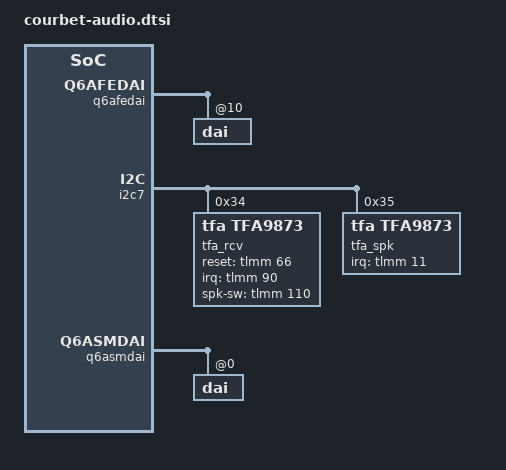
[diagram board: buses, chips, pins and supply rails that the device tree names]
// SPDX-License-Identifier: GPL-2.0-only
#include <dt-bindings/sound/qcom,q6afe.h>
#include <dt-bindings/sound/qcom,q6asm.h>

/ {
	sound {
		compatible = "xiaomi,courbet-audio";
		model = "courbet";
		pinctrl-names = "default";
		pinctrl-0 = <&pri_mi2s_active &pri_mi2s_ws_active>;
		widgets = "Speaker", "Top Speaker", "Speaker", "Bottom Speaker";
		audio-routing = "Top Speaker", "RCV OUTL",
				"Bottom Speaker", "SPK OUTL";

		multimedia1-dai-link {
			link-name = "MultiMedia1";
			cpu { sound-dai = <&q6asmdai MSM_FRONTEND_DAI_MULTIMEDIA1>; };
		};
		primary-mi2s-dai-link {
			link-name = "Primary MI2S";
			cpu { sound-dai = <&q6afedai PRIMARY_MI2S_RX>; };
			platform { sound-dai = <&q6routing>; };
			codec { sound-dai = <&tfa_rcv>, <&tfa_spk>; };
		};
	};
};

&q6afedai {
	dai@10 {
		reg = <PRIMARY_MI2S_RX>;
		qcom,sd-lines = <0>;
	};
};

&i2c7 {
	tfa_rcv: amplifier@34 {
		compatible = "tfa,tfa9873";
		reg = <0x34>;
		#sound-dai-cells = <0>;
		sound-name-prefix = "RCV";
		reset-gpio = <&tlmm 66 GPIO_ACTIVE_HIGH>;
		irq-gpio = <&tlmm 90 GPIO_ACTIVE_HIGH>;
		spk-sw-gpio = <&tlmm 110 GPIO_ACTIVE_HIGH>;
		pinctrl-names = "default";
		pinctrl-0 = <&tfa_reset &tfa_rcv_irq &tfa_spk_switch>;
	};
	tfa_spk: amplifier@35 {
		compatible = "tfa,tfa9873";
		reg = <0x35>;
		#sound-dai-cells = <0>;
		sound-name-prefix = "SPK";
		irq-gpio = <&tlmm 11 GPIO_ACTIVE_HIGH>;
		pinctrl-names = "default";
		pinctrl-0 = <&tfa_spk_irq>;
	};
};

&pri_mi2s_active {
	drive-strength = <8>;
	bias-disable;
};
&pri_mi2s_ws_active {
	drive-strength = <8>;
	bias-disable;
};
&tlmm {
	tfa_reset: tfa-reset-state {
		pins = "gpio66";
		function = "gpio";
		drive-strength = <2>;
		bias-disable;
	};
	tfa_rcv_irq: tfa-rcv-irq-state {
		pins = "gpio90";
		function = "gpio";
		drive-strength = <2>;
		bias-pull-down;
		input-enable;
	};
	tfa_spk_irq: tfa-spk-irq-state {
		pins = "gpio11";
		function = "gpio";
		drive-strength = <2>;
		bias-pull-down;
		input-enable;
	};
	tfa_spk_switch: tfa-spk-switch-state {
		pins = "gpio110";
		function = "gpio";
		drive-strength = <2>;
		bias-disable;
	};
};

&q6asmdai {
	#address-cells = <1>;
	#size-cells = <0>;
	dai@0 {
		reg = <MSM_FRONTEND_DAI_MULTIMEDIA1>;
		direction = <Q6ASM_DAI_RX>;
	};
};
